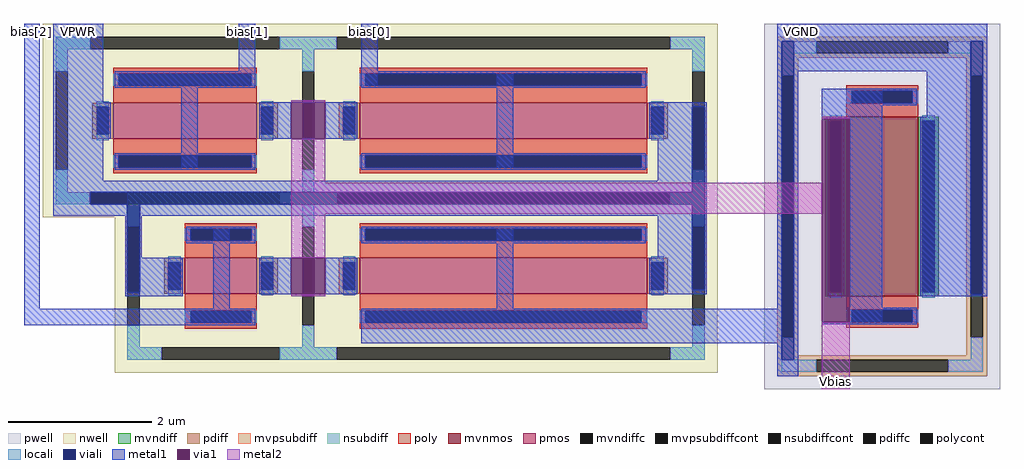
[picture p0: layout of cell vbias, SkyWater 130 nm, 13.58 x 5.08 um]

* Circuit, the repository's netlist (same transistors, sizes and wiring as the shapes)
** sch_path: /home/anton/projects/ttsky25a-vga-matrix-dac/xschem/vbias.sch
.subckt vbias VPWR VGND bias[2] bias[1] bias[0] Vbias
*.PININFO VPWR:B VGND:B bias[2:0]:I Vbias:O
XM1 Vbias bias[2] VPWR VPWR sky130_fd_pr__pfet_01v8 L=1 W=0.5 nf=1 m=1
XM2 Vbias bias[1] VPWR VPWR sky130_fd_pr__pfet_01v8 L=2 W=0.5 nf=1 m=1
XM3 Vbias bias[0] VPWR VPWR sky130_fd_pr__pfet_01v8 L=4 W=0.5 nf=1 m=1
XMmirror Vbias Vbias VGND VGND sky130_fd_pr__nfet_g5v0d10v5 L=1.0 W=2.5 nf=1 m=1
XM4 Vbias VGND VPWR VPWR sky130_fd_pr__pfet_01v8 L=4 W=0.5 nf=1 m=1
.ends

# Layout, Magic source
magic
tech sky130A
magscale 1 2
<< viali >>
rect 1860 548 1894 786
rect 184 514 1894 548
rect 288 270 322 514
rect 1860 276 1894 514
rect 2108 82 2142 968
rect 2634 264 2668 968
<< metal1 >>
rect 0 224 44 1016
rect 82 798 220 1016
rect 598 884 644 1016
rect 252 838 644 884
rect 938 838 984 1016
rect 2096 968 2680 1016
rect 82 696 242 798
rect 82 580 220 696
rect 438 610 484 838
rect 654 696 744 798
rect 838 696 928 798
rect 1316 610 1362 884
rect 1740 786 1900 798
rect 1740 696 1860 786
rect 1764 580 1860 696
rect 82 548 1860 580
rect 82 514 184 548
rect 82 482 288 514
rect 282 270 288 482
rect 322 482 1860 514
rect 322 366 328 482
rect 322 270 442 366
rect 282 258 442 270
rect 526 224 572 452
rect 654 264 744 366
rect 838 264 928 366
rect 1316 224 1362 452
rect 1764 366 1860 482
rect 1740 276 1860 366
rect 1894 276 1900 786
rect 1740 264 1900 276
rect 2096 224 2108 968
rect 0 178 644 224
rect 938 128 2108 224
rect 2096 82 2108 128
rect 2142 884 2634 968
rect 2142 82 2154 884
rect 2220 752 2388 836
rect 2512 758 2634 884
rect 2298 186 2388 752
rect 2494 264 2634 758
rect 2668 264 2680 968
rect 2494 258 2680 264
rect 2220 180 2388 186
rect 2096 36 2154 82
<< via1 >>
rect 744 696 838 798
rect 744 264 838 366
rect 2220 186 2298 752
<< metal2 >>
rect 744 798 838 804
rect 744 574 838 696
rect 2220 752 2298 758
rect 744 488 2220 574
rect 744 366 838 488
rect 744 258 838 264
rect 2220 0 2298 186
use sky130_fd_pr__pfet_01v8_B3DYZW  XM1
transform 1 0 548 0 1 315
box -296 -269 296 269
use sky130_fd_pr__pfet_01v8_8JDY5S  XM2
transform 1 0 448 0 1 747
box -396 -269 396 269
use sky130_fd_pr__pfet_01v8_9JDYDD  XM3
transform 1 0 1334 0 1 747
box -596 -269 596 269
use sky130_fd_pr__pfet_01v8_9JDYDD  XM4
transform 1 0 1334 0 1 315
box -596 -269 596 269
use sky130_fd_pr__nfet_g5v0d10v5_47AZYF  XMmirror
transform 1 0 2388 0 1 508
box -328 -508 328 508
<< labels >>
flabel metal1 0 972 44 1016 0 FreeSans 80 0 0 0 bias[2]
port 2 nsew
flabel metal1 598 972 644 1016 0 FreeSans 80 0 0 0 bias[1]
port 1 nsew
flabel metal1 938 972 984 1016 0 FreeSans 80 0 0 0 bias[0]
port 0 nsew
flabel metal1 82 972 220 1016 0 FreeSans 160 0 0 0 VPWR
port 3 nsew
flabel metal1 2096 972 2234 1016 0 FreeSans 160 0 0 0 VGND
port 4 nsew
flabel metal2 2220 0 2298 44 0 FreeSans 160 0 0 0 Vbias
port 5 nsew
<< end >>

# cell sky130_fd_pr__pfet_01v8_B3DYZW: kit device sky130_fd_pr__pfet_01v8, w 0.5 l 1.0 m 1 nf 1 diffcov 100 polycov 100 guard 1 glc 1 grc 1 gtc 0 gbc 1 tbcov 100 rlcov 100 topc 1 botc 1 poverlap 0 doverlap 1 lmin 0.15 wmin 0.42 class mosfet compatible {sky130_fd_pr__pfet_01v8 sky130_fd_pr__pfet_01v8_lvt sky130_fd_pr__pfet_01v8_hvt sky130_fd_pr__pfet_g5v0d10v5} full_metal 1 viasrc 100 viadrn 100 viagate 100 viagb 0 viagr 0 viagl 0 viagt 0

# cell sky130_fd_pr__pfet_01v8_8JDY5S: kit device sky130_fd_pr__pfet_01v8, w 0.5 l 2.0 m 1 nf 1 diffcov 100 polycov 100 guard 1 glc 1 grc 1 gtc 1 gbc 1 tbcov 100 rlcov 100 topc 1 botc 1 poverlap 0 doverlap 1 lmin 0.15 wmin 0.42 class mosfet compatible {sky130_fd_pr__pfet_01v8 sky130_fd_pr__pfet_01v8_lvt sky130_fd_pr__pfet_01v8_hvt sky130_fd_pr__pfet_g5v0d10v5} full_metal 1 viasrc 100 viadrn 100 viagate 100 viagb 0 viagr 0 viagl 0 viagt 0

# cell sky130_fd_pr__pfet_01v8_9JDYDD: kit device sky130_fd_pr__pfet_01v8, w 0.5 l 4.0 m 1 nf 1 diffcov 100 polycov 100 guard 1 glc 1 grc 1 gtc 1 gbc 1 tbcov 100 rlcov 100 topc 1 botc 1 poverlap 0 doverlap 1 lmin 0.15 wmin 0.42 class mosfet compatible {sky130_fd_pr__pfet_01v8 sky130_fd_pr__pfet_01v8_lvt sky130_fd_pr__pfet_01v8_hvt sky130_fd_pr__pfet_g5v0d10v5} full_metal 1 viasrc 100 viadrn 100 viagate 100 viagb 0 viagr 0 viagl 0 viagt 0

# cell sky130_fd_pr__nfet_g5v0d10v5_47AZYF: kit device sky130_fd_pr__nfet_g5v0d10v5, w 2.5 l 1.0 m 1 nf 1 diffcov 100 polycov 100 guard 1 glc 1 grc 1 gtc 1 gbc 1 tbcov 100 rlcov 100 topc 1 botc 1 poverlap 0 doverlap 1 lmin 0.50 wmin 0.42 class mosfet compatible {sky130_fd_pr__nfet_01v8 sky130_fd_pr__nfet_01v8_lvt sky130_fd_bs_flash__special_sonosfet_star sky130_fd_pr__nfet_g5v0d10v5 sky130_fd_pr__nfet_05v0_nvt sky130_fd_pr__nfet_03v3_nvt} full_metal 1 viasrc 100 viadrn 100 viagate 100 viagb 0 viagr 0 viagl 0 viagt 0
